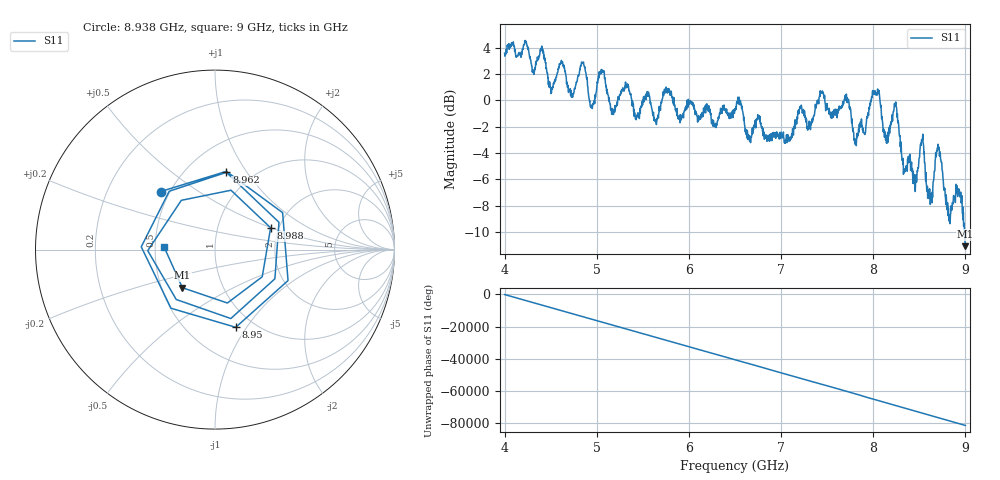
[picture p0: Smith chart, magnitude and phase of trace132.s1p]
! Created with skrf 1.8.0 (http://scikit-rf.org).
# Hz S RI R 50.0
!freq ReS11 ImS11
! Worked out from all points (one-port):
!   1601 points, 4 GHz to 9 GHz, reference 50 ohm
!   lowest |S11| = -11.1 dB at 8.997 GHz (marker M1), VSWR 1.78, Z = 32 - j14.7 ohm
!   |S11| at or under -10 dB: 8.989673 GHz to end of sweep
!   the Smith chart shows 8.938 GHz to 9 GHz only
!   S11 on the Smith chart (normalised r, x): 8.938 GHz: 0.45, +0.36; 8.95 GHz: 0.82, -0.89; 8.962 GHz: 0.76, +0.81; 8.988 GHz: 1.81, +0.50; 9 GHz: 0.56, +0.02
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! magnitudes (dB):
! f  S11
! 4 GHz  3.6
! 4.406 GHz  4.1
! 4.5 GHz  1.0
! 4.625 GHz  2.9
! 4.944 GHz  -0.4
! 5.056 GHz  2.3
! 5.25 GHz  0.4
! 5.875 GHz  -1.2
! 6.5 GHz  -0.8
! 7.125 GHz  -2.1
! 7.438 GHz  0.7
! 7.75 GHz  -0.7
! 7.812 GHz  -3.2
! 8.009 GHz  0.5
! 8.134 GHz  -3.0
! 8.238 GHz  -0.4
! 8.375 GHz  -4.5
! 8.456 GHz  -6.9
! 8.531 GHz  -3.0
! 8.619 GHz  -7.9
! 8.703 GHz  -3.3
! 8.819 GHz  -8.9
! 8.938 GHz  -7.1
! 8.95 GHz  -7.0
! 8.962 GHz  -7.2
! 8.988 GHz  -9.6
! 8.997 GHz  -11.1
! 9 GHz  -10.9
